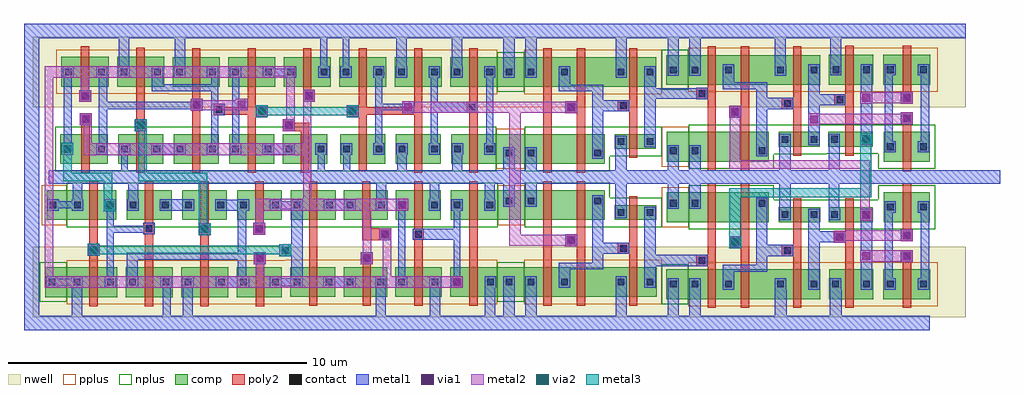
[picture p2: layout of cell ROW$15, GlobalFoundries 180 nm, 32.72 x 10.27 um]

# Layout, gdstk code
from math import pi, radians
import gdstk
lib = gdstk.Library(unit=1e-6, precision=5e-09)
def R(c, l, rs):  # rectangles x0, y0, x1, y1
    for r in rs: c.add(gdstk.rectangle(r[:2], r[2:], *l))
def A(c, l, x, y, w, h, nx, ny, dx, dy):  # array of equal rectangles
    R(c, l, [(x+i*dx, y+j*dy, x+i*dx+w, y+j*dy+h) for i in range(nx) for j in range(ny)])
nwell = (21, 0)
comp = (22, 0)
poly2 = (30, 0)
pplus = (31, 0)
nplus = (32, 0)
contact = (33, 0)
metal1 = (34, 0)
via1 = (35, 0)
metal2 = (36, 0)
via2 = (38, 0)
metal3 = (42, 0)

nfet_15 = lib.new_cell('nfet$15')

pfet_2_15 = lib.new_cell('pfet$2$15')

dff_16 = lib.new_cell('DFF$16')
dff_16.add(gdstk.Reference(nfet_15, (7.795,-0.095), rotation=pi, x_reflection=True))
dff_16.add(gdstk.Reference(pfet_2_15, (24.455,2.76)))
dff_16.add(gdstk.Reference(nfet_15, (24.455,-0.045)))
dff_16.add(gdstk.Reference(pfet_2_15, (34.345,2.755), rotation=pi, x_reflection=True))
dff_16.add(gdstk.Reference(pfet_2_15, (38.025,2.755), rotation=pi, x_reflection=True))
dff_16.add(gdstk.Reference(pfet_2_15, (40.34,2.755)))
dff_16.add(gdstk.Reference(pfet_2_15, (28.83,2.76)))
dff_16.add(gdstk.Reference(pfet_2_15, (56.495,2.74), rotation=pi, x_reflection=True))
dff_16.add(gdstk.Reference(pfet_2_15, (52.805,2.74), rotation=pi, x_reflection=True))
dff_16.add(gdstk.Reference(pfet_2_15, (49.11,2.755), rotation=pi, x_reflection=True))
dff_16.add(gdstk.Reference(nfet_15, (56.495,-0.065), rotation=pi, x_reflection=True))
dff_16.add(gdstk.Reference(nfet_15, (52.805,-0.065), rotation=pi, x_reflection=True))
dff_16.add(gdstk.Reference(nfet_15, (49.11,-0.05), rotation=pi, x_reflection=True))
dff_16.add(gdstk.Reference(pfet_2_15, (44.03,2.755)))
dff_16.add(gdstk.Reference(nfet_15, (42.89,-0.1)))
dff_16.add(gdstk.Reference(nfet_15, (40.34,-0.05)))
dff_16.add(gdstk.Reference(nfet_15, (38.025,-0.05), rotation=pi, x_reflection=True))
dff_16.add(gdstk.Reference(nfet_15, (34.345,-0.05), rotation=pi, x_reflection=True))
dff_16.add(gdstk.Reference(nfet_15, (29.51,-0.055), rotation=pi, x_reflection=True))
dff_16.add(gdstk.Reference(nfet_15, (10.34,-0.045), rotation=pi, x_reflection=True))
dff_16.add(gdstk.Reference(pfet_2_15, (10.34,2.76), rotation=pi, x_reflection=True))
dff_16.add(gdstk.Reference(pfet_2_15, (6.65,2.755), rotation=pi, x_reflection=True))
dff_16.add(gdstk.Reference(pfet_2_15, (13.36,2.76)))
dff_16.add(gdstk.Reference(nfet_15, (14.04,-0.055), rotation=pi, x_reflection=True))
dff_16.add(gdstk.Reference(pfet_2_15, (21.25,2.76)))
dff_16.add(gdstk.Reference(pfet_2_15, (17.57,2.76)))
dff_16.add(gdstk.Reference(nfet_15, (21.25,-0.045)))
dff_16.add(gdstk.Reference(nfet_15, (17.57,-0.045)))
dff_16.add(gdstk.Reference(pfet_2_15, (0.285,2.755), rotation=pi, x_reflection=True))

and_18 = lib.new_cell('AND$18')

inv_16 = lib.new_cell('INV$16')

pfet_1_15 = lib.new_cell('pfet$1$15')

tgate_15 = lib.new_cell('TGATE$15')
tgate_15.add(gdstk.Reference(pfet_1_15, (-0.53,5.4), x_reflection=True))

and_1_15 = lib.new_cell('AND$1$15')

inv_1_15 = lib.new_cell('INV$1$15')

via_dev_1_16 = lib.new_cell('via_dev$1$16')
R(via_dev_1_16, poly2, [(0,0,0.4,0.4)])
R(via_dev_1_16, contact, [(0.09,0.09,0.31,0.31)])
R(via_dev_1_16, metal1, [(0,0,0.4,0.4)])
R(via_dev_1_16, via1, [(0.07,0.07,0.33,0.33)])
R(via_dev_1_16, metal2, [(0,0,0.4,0.4)])

and_3_15 = lib.new_cell('AND$3$15')
R(and_3_15, comp, [(-3.69,-0.945,-2.96,0.055), (-2.96,-0.945,-2.54,0.055), (-2.54,-0.945,-1.84,0.055), (-1.84,-0.945,-1.42,0.055), (-1.42,-0.945,-0.72,0.055), (-0.93,-0.945,-0.28,0.055), (0.055,-0.445,0.48,0.055), (0.48,-0.445,1.03,0.055), (1.03,-0.445,1.45,0.055), (-3.71,1.635,-2.98,2.635), (-2.98,1.635,-2.52,2.635), (-2.52,1.635,-1.86,2.635), (-1.86,1.635,-1.4,2.635), (-1.4,1.635,-0.74,2.635), (-0.74,1.635,-0.11,2.635), (-0.11,1.635,0.35,2.635), (0.35,1.635,1.01,2.635), (1.01,1.635,1.455,2.635)])
R(and_3_15, poly2, [(-2.33,-1.245,-2.05,2.935), (-1.21,-1.245,-0.93,2.935), (0.54,-0.745,0.82,2.935), (-1.59,0.545,-1.21,0.925), (0.16,0.815,0.54,1.195), (-2.71,1.155,-2.33,1.535)])
R(and_3_15, pplus, [(-3.86,-1.115,-2.96,0.225), (-2.98,1.395,1.64,2.875)])
R(and_3_15, nplus, [(-2.96,-1.185,-0.11,0.295), (-0.11,-0.685,1.645,0.295), (-3.865,1.465,-2.98,2.805)])
R(and_3_15, contact, [(-3.59,-0.685,-3.37,-0.465), (-2.86,-0.685,-2.64,-0.465), (-0.62,-0.685,-0.4,-0.465), (0.16,-0.305,0.38,-0.085), (1.13,-0.305,1.35,-0.085), (-1.51,0.625,-1.29,0.845), (0.24,0.895,0.46,1.115), (-2.63,1.235,-2.41,1.455), (-3.59,2.025,-3.37,2.245), (-2.86,2.025,-2.64,2.245), (-1.74,2.025,-1.52,2.245), (0.01,2.025,0.23,2.245), (1.13,2.025,1.35,2.245)])
R(and_3_15, metal1, [(-3.67,-1.225,-3.29,-0.995), (-2.94,-1.225,-2.56,-0.995), (0.08,-1.225,0.46,-0.615), (-3.67,-0.995,-3.29,-0.765), (-2.94,-0.995,-2.56,-0.765), (-3.67,-0.765,-3.29,-0.385), (-2.94,-0.765,-2.56,-0.385), (-0.7,-0.765,-0.32,-0.385), (0.08,-0.615,0.46,-0.385), (-0.7,-0.385,-0.32,1.715), (0.08,-0.385,0.46,-0.005), (1.05,-0.385,1.43,-0.005), (1.05,-0.005,1.43,1.945), (-1.59,0.545,-1.21,0.925), (-0.32,0.815,0.16,1.195), (0.16,0.815,0.54,1.195), (-2.71,1.155,-2.33,1.535), (-1.82,1.485,-0.7,1.715), (-1.82,1.715,-1.44,1.945), (-3.67,1.945,-3.29,2.325), (-2.94,1.945,-2.56,2.325), (-1.82,1.945,-1.44,2.325), (-0.07,1.945,0.31,2.325), (1.05,1.945,1.43,2.325), (-3.67,2.325,-3.29,3.195), (-2.94,2.325,-2.56,3.195)])

via_dev_19 = lib.new_cell('via_dev$19')
R(via_dev_19, metal1, [(0,0,0.4,0.4)])
R(via_dev_19, via1, [(0.07,0.07,0.33,0.33)])
R(via_dev_19, metal2, [(0,0,0.4,0.4)])

via_dev_2_16 = lib.new_cell('via_dev$2$16')
R(via_dev_2_16, poly2, [(0,0,0.4,0.4)])
R(via_dev_2_16, contact, [(0.09,0.09,0.31,0.31)])
R(via_dev_2_16, metal1, [(0,0,0.4,0.4)])
R(via_dev_2_16, via1, [(0.07,0.07,0.33,0.33)])
R(via_dev_2_16, metal2, [(0,0,0.4,0.4)])
R(via_dev_2_16, via2, [(0.07,0.07,0.33,0.33)])
R(via_dev_2_16, metal3, [(0,0,0.4,0.4)])

via_dev_3_16 = lib.new_cell('via_dev$3$16')
R(via_dev_3_16, metal1, [(0,0,0.4,0.4)])
R(via_dev_3_16, via1, [(0.07,0.07,0.33,0.33)])
R(via_dev_3_16, metal2, [(0,0,0.4,0.4)])
R(via_dev_3_16, via2, [(0.07,0.07,0.33,0.33)])
R(via_dev_3_16, metal3, [(0,0,0.4,0.4)])

and_2_15 = lib.new_cell('AND$2$15')
R(and_2_15, comp, [(-5.54,-7.5,-4.81,-6.5), (-4.81,-7.5,-4.39,-6.5), (-4.39,-7.5,-3.69,-6.5), (-3.69,-7.5,-3.27,-6.5), (-3.27,-7.5,-2.57,-6.5), (-2.78,-7.5,-2.13,-6.5), (-1.795,-7,-1.37,-6.5), (-1.37,-7,-0.82,-6.5), (-0.82,-7,-0.41,-6.5), (-5.56,-4.92,-4.83,-3.92), (-4.83,-4.92,-4.37,-3.92), (-4.37,-4.92,-3.71,-3.92), (-3.71,-4.92,-3.25,-3.92), (-3.25,-4.92,-2.59,-3.92), (-2.59,-4.92,-1.96,-3.92), (-1.96,-4.92,-1.5,-3.92), (-1.5,-4.92,-0.84,-3.92), (-0.84,-4.92,-0.4,-3.92)])
R(and_2_15, poly2, [(-4.18,-7.8,-3.9,-3.62), (-3.06,-7.8,-2.78,-3.62), (-1.31,-7.3,-1.03,-3.62), (-3.44,-6.01,-3.06,-5.63), (-1.69,-5.74,-1.31,-5.36), (-4.56,-5.4,-4.18,-5.02)])
R(and_2_15, pplus, [(-5.71,-7.67,-4.81,-6.33), (-4.83,-5.16,-0.21,-3.68)])
R(and_2_15, nplus, [(-4.81,-7.74,-1.96,-6.26), (-1.96,-7.24,-0.205,-6.26), (-5.715,-5.09,-4.83,-3.75)])
R(and_2_15, contact, [(-5.44,-7.24,-5.22,-7.02), (-4.71,-7.24,-4.49,-7.02), (-2.47,-7.24,-2.25,-7.02), (-1.69,-6.86,-1.47,-6.64), (-0.72,-6.86,-0.5,-6.64), (-3.36,-5.93,-3.14,-5.71), (-1.61,-5.66,-1.39,-5.44), (-4.48,-5.32,-4.26,-5.1), (-5.44,-4.53,-5.22,-4.31), (-4.71,-4.53,-4.49,-4.31), (-3.59,-4.53,-3.37,-4.31), (-1.84,-4.53,-1.62,-4.31), (-0.72,-4.53,-0.5,-4.31)])
R(and_2_15, metal1, [(-5.52,-7.78,-5.14,-7.55), (-4.79,-7.78,-4.41,-7.55), (-1.77,-7.78,-1.39,-7.17), (-5.52,-7.55,-5.14,-7.32), (-4.79,-7.55,-4.41,-7.32), (-5.52,-7.32,-5.14,-6.94), (-4.79,-7.32,-4.41,-6.94), (-2.55,-7.32,-2.17,-6.94), (-1.77,-7.17,-1.39,-6.94), (-2.55,-6.94,-2.17,-4.84), (-1.77,-6.94,-1.39,-6.56), (-0.8,-6.94,-0.42,-6.56), (-0.8,-6.56,-0.42,-4.61), (-3.44,-6.01,-3.06,-5.63), (-2.17,-5.74,-1.69,-5.36), (-1.69,-5.74,-1.31,-5.36), (-4.56,-5.4,-4.18,-5.02), (-3.67,-5.07,-2.55,-4.84), (-3.67,-4.84,-3.29,-4.61), (-5.52,-4.61,-5.14,-4.23), (-4.79,-4.61,-4.41,-4.23), (-3.67,-4.61,-3.29,-4.23), (-1.92,-4.61,-1.54,-4.23), (-0.8,-4.61,-0.42,-4.23), (-5.52,-4.23,-5.14,-3.36), (-4.79,-4.23,-4.41,-3.36)])

row_15 = lib.new_cell('ROW$15')
R(row_15, nwell, [(18.83,5.74,34.515,8.12), (34.515,5.74,50.105,8.12), (18.83,12.78,34.515,15.16), (34.515,12.78,43.855,15.16), (34.515,12.78,50.105,15.16)])
A(row_15, comp, 20.545, 6.425, 0.66, 1, 3, 2, 1.86, 2.585)
A(row_15, comp, 29.565, 10.89, 0.66, 1, 3, 1, 1.86, 0)
A(row_15, comp, 23.985, 13.47, 0.66, 1, 6, 1, 1.86, 0)
R(row_15, comp, [(45.53,6.36,45.95,7.36), (45.53,6.36,45.95,7.36), (45.95,6.36,46.55,7.36), (45.95,6.36,46.55,7.36), (46.55,6.36,47.01,7.36), (46.55,6.36,47.01,7.36), (47.35,6.36,47.81,7.36), (47.35,6.36,47.81,7.36), (47.81,6.36,48.47,7.36), (47.81,6.36,48.47,7.36), (48.47,6.36,48.93,7.36), (48.47,6.36,48.93,7.36), (19.245,6.425,19.975,7.43), (19.975,6.425,20.545,7.425), (21.205,6.425,21.665,7.425), (21.945,6.425,22.405,7.425), (23.065,6.425,23.525,7.425), (23.805,6.425,24.265,7.425), (24.925,6.425,25.385,7.425), (25.665,6.425,26.125,7.425), (26.125,6.425,26.73,7.425), (26.73,6.425,27.185,7.425), (27.465,6.43,27.93,7.43), (27.93,6.43,28.54,7.43), (28.54,6.43,28.98,7.43), (29.26,6.43,29.7,7.43), (29.7,6.43,30.27,7.43), (30.27,6.43,30.71,7.43), (30.99,6.43,31.43,7.43), (31.43,6.43,32.09,7.43), (32.09,6.43,32.54,7.43), (32.825,6.43,33.285,7.43), (33.285,6.43,33.945,7.43), (33.945,6.43,34.405,7.43), (34.405,6.43,35.305,7.43), (35.305,6.43,35.765,7.43), (35.305,6.43,35.765,7.43), (35.765,6.43,36.425,7.43), (35.765,6.43,36.425,7.43), (36.425,6.43,36.885,7.43), (36.425,6.43,36.885,7.43), (36.885,6.43,37.545,7.43), (36.885,6.43,37.545,7.43), (37.545,6.43,38.34,7.43), (37.545,6.43,38.34,7.43), (38.34,6.43,38.785,7.43), (38.34,6.43,38.785,7.43), (38.785,6.43,39.295,7.43), (38.785,6.43,39.295,7.43), (39.295,6.43,39.745,7.43), (39.295,6.43,39.745,7.43), (45.515,8.94,45.91,9.44), (45.515,8.94,45.91,9.44), (45.91,8.94,46.57,9.44), (45.91,8.94,46.57,9.44), (46.57,8.94,46.99,9.44), (46.57,8.94,46.99,9.44), (47.37,8.94,47.79,9.94), (47.37,8.94,47.79,9.94), (47.79,8.94,48.49,9.94), (47.79,8.94,48.49,9.94), (48.49,8.94,48.91,9.94), (48.49,8.94,48.91,9.94), (19.305,9.01,19.975,10.01), (19.975,9.01,20.545,10.01), (21.205,9.01,21.625,10.01), (21.985,9.01,22.405,10.01), (23.065,9.01,23.485,10.01), (23.845,9.01,24.265,10.01), (24.925,9.01,25.345,10.01), (25.685,9.01,26.105,10.01), (26.105,9.01,26.765,10.01), (26.765,9.01,27.185,10.01), (27.485,9.01,27.905,10.01), (27.905,9.01,28.565,10.01), (28.565,9.01,28.985,10.01), (29.265,9.01,29.685,10.01), (29.685,9.01,30.31,10.01), (30.31,9.01,30.73,10.01), (31.01,9.01,31.43,10.01), (31.43,9.01,32.09,10.01), (32.09,9.01,32.51,10.01), (32.845,9.01,33.285,10.01), (33.285,9.01,33.945,10.01), (33.945,9.01,34.425,10.01), (34.425,9.01,35.325,10.01), (34.595,9.01,35.325,10.01), (35.325,9.01,35.745,10.01), (35.325,9.01,35.745,10.01), (35.745,9.01,36.445,10.01), (35.745,9.01,36.445,10.01), (36.445,9.01,36.865,10.01), (36.445,9.01,36.865,10.01), (36.865,9.01,37.565,10.01), (36.865,9.01,37.565,10.01), (37.355,9.01,38.005,10.01), (37.355,9.01,38.005,10.01), (38.34,9.01,38.765,9.51), (38.34,9.01,38.765,9.51), (38.765,9.01,39.315,9.51), (38.765,9.01,39.315,9.51), (39.315,9.01,39.73,9.51), (39.315,9.01,39.73,9.51), (19.75,10.89,20.275,11.89), (20.275,10.89,20.935,11.89), (20.935,10.89,21.355,11.89), (21.7,10.89,22.12,11.89), (22.12,10.89,22.78,11.89), (22.78,10.89,23.2,11.89), (23.565,10.89,23.985,11.89), (23.985,10.89,24.645,11.89), (24.645,10.89,25.065,11.89), (25.425,10.89,25.845,11.89), (25.845,10.89,26.505,11.89), (26.505,10.89,26.925,11.89), (27.21,10.89,27.63,11.89), (27.63,10.89,28.29,11.89), (28.29,10.89,28.71,11.89), (29.145,10.89,29.565,11.89), (30.225,10.89,30.645,11.89), (31.005,10.89,31.425,11.89), (32.085,10.89,32.505,11.89), (32.865,10.89,33.285,11.89), (33.945,10.89,34.365,11.89), (34.365,10.89,35.325,11.89), (35.325,10.89,35.745,11.89), (35.325,10.89,35.745,11.89), (35.745,10.89,36.445,11.89), (35.745,10.89,36.445,11.89), (36.445,10.89,36.865,11.89), (36.445,10.89,36.865,11.89), (36.865,10.89,37.565,11.89), (36.865,10.89,37.565,11.89), (37.355,10.89,38.005,11.89), (37.355,10.89,38.005,11.89), (47.37,10.965,47.79,11.965), (47.37,10.965,47.79,11.965), (47.79,10.965,48.49,11.965), (47.79,10.965,48.49,11.965), (48.49,10.965,48.91,11.965), (48.49,10.965,48.91,11.965), (38.34,11.39,38.765,11.89), (38.34,11.39,38.765,11.89), (38.765,11.39,39.315,11.89), (38.765,11.39,39.315,11.89), (39.315,11.39,39.725,11.89), (39.315,11.39,39.725,11.89), (45.51,11.465,45.91,11.965), (45.51,11.465,45.91,11.965), (45.91,11.465,46.57,11.965), (45.91,11.465,46.57,11.965), (46.57,11.465,46.99,11.965), (46.57,11.465,46.99,11.965), (23.525,13.47,23.985,14.47), (24.645,13.47,25.105,14.47), (25.385,13.47,25.845,14.47), (26.505,13.47,26.965,14.47), (27.245,13.47,27.705,14.47), (28.365,13.47,28.825,14.47), (29.105,13.47,29.565,14.47), (30.225,13.47,30.685,14.47), (30.965,13.47,31.425,14.47), (32.085,13.47,32.545,14.47), (32.825,13.47,33.285,14.47), (33.945,13.47,34.405,14.47), (34.405,13.47,35.305,14.47), (35.305,13.47,35.765,14.47), (35.305,13.47,35.765,14.47), (35.765,13.47,36.425,14.47), (35.765,13.47,36.425,14.47), (36.425,13.47,36.885,14.47), (36.425,13.47,36.885,14.47), (36.885,13.47,37.545,14.47), (36.885,13.47,37.545,14.47), (37.545,13.47,38.34,14.47), (37.545,13.47,38.34,14.47), (38.34,13.47,38.785,14.47), (38.34,13.47,38.785,14.47), (38.785,13.47,39.295,14.47), (38.785,13.47,39.295,14.47), (39.295,13.47,39.735,14.47), (39.295,13.47,39.735,14.47), (19.795,13.475,20.255,14.475), (20.255,13.475,20.915,14.475), (20.915,13.475,21.375,14.475), (21.66,13.475,22.12,14.475), (22.12,13.475,22.78,14.475), (22.78,13.475,23.24,14.475), (45.52,13.545,45.975,14.545), (45.52,13.545,45.975,14.545), (45.975,13.545,46.55,14.545), (45.975,13.545,46.55,14.545), (46.55,13.545,47.01,14.545), (46.55,13.545,47.01,14.545), (47.35,13.545,47.81,14.545), (47.35,13.545,47.81,14.545), (47.81,13.545,48.47,14.545), (47.81,13.545,48.47,14.545), (48.47,13.545,48.93,14.545), (48.47,13.545,48.93,14.545)])
A(row_15, poly2, 20.735, 6.125, 0.28, 1.6, 3, 1, 1.86, 0)
A(row_15, poly2, 24.175, 13.17, 0.28, 1.6, 6, 1, 1.86, 0)
R(row_15, poly2, [(46.08,6.06,46.36,9.74), (46.08,6.06,46.36,9.74), (48,6.06,48.28,7.66), (48,6.06,48.28,7.66), (26.315,6.125,26.595,7.53), (28.095,6.13,28.375,7.73), (29.89,6.13,30.17,7.73), (31.62,6.13,31.9,7.73), (33.475,6.13,33.755,7.73), (35.955,6.13,36.235,10.31), (35.955,6.13,36.235,10.31), (37.075,6.13,37.355,10.31), (37.075,6.13,37.355,10.31), (38.825,6.13,39.105,9.81), (38.825,6.13,39.105,9.81), (20.735,7.725,21.015,8.215), (22.595,7.725,22.875,8.54), (24.455,7.725,24.735,8.71), (28.095,7.73,28.375,8.35), (31.62,7.73,31.9,8.35), (33.475,7.73,33.755,8.35), (38.445,7.87,38.825,8.25), (38.445,7.87,38.825,8.25), (20.735,8.215,21.015,10.31), (45.7,8.25,46.08,8.63), (47.96,8.31,48.32,8.67), (47.96,8.31,48.32,8.67), (29.875,8.33,30.155,10.31), (30.155,8.33,30.455,8.73), (28.095,8.35,28.375,10.31), (31.58,8.35,31.94,8.71), (33.475,8.35,33.755,10.31), (22.555,8.54,22.915,8.9), (48,8.64,48.28,10.24), (48,8.64,48.28,10.24), (24.455,8.71,24.735,10.31), (31.62,8.71,31.9,10.31), (22.595,8.9,22.875,10.31), (26.295,8.91,26.575,10.31), (20.465,10.59,20.745,12.19), (22.31,10.59,22.59,12.19), (24.175,10.59,24.455,12.19), (26.035,10.59,26.315,12.245), (27.82,10.59,28.1,12.27), (31.615,10.59,31.895,12.59), (33.475,10.59,33.755,12.61), (35.955,10.59,36.235,14.77), (35.955,10.59,36.235,14.77), (37.075,10.59,37.355,14.77), (37.075,10.59,37.355,14.77), (48,10.635,48.28,12.235), (29.755,10.645,30.035,12.605), (38.825,11.09,39.105,14.77), (38.825,11.09,39.105,14.77), (46.08,11.165,46.36,14.845), (46.08,11.165,46.36,14.845), (27.615,11.99,27.82,12.27), (22.31,12.19,22.59,13.175), (24.175,12.19,24.455,13.17), (47.96,12.235,48.32,12.595), (47.96,12.235,48.32,12.595), (26.035,12.245,26.315,13.17), (24.895,12.525,25.275,12.905), (25.275,12.54,26.035,12.78), (30.035,12.54,31.615,12.78), (31.615,12.59,31.895,13.17), (29.755,12.605,30.035,13.17), (33.385,12.61,33.745,12.97), (38.445,12.65,38.825,13.03), (38.445,12.65,38.825,13.03), (45.7,12.85,46.08,13.23), (33.475,12.97,33.755,13.17), (20.445,13.175,20.725,14.825), (22.31,13.175,22.59,14.775), (48,13.245,48.28,14.845), (48,13.245,48.28,14.845)])
A(row_15, pplus, 19.975, 6.185, 1.86, 1.48, 3, 1, 1.86, 0)
R(row_15, pplus, [(45.425,6.12,47.18,7.6), (45.425,6.12,47.18,7.6), (47.18,6.12,49.17,7.6), (47.18,6.12,49.17,7.6), (25.555,6.185,27.315,7.665), (27.315,6.19,29.12,7.67), (29.12,6.19,30.88,7.67), (30.88,6.19,32.655,7.67), (32.655,6.19,34.405,7.67), (35.305,6.19,39.92,7.67), (35.305,6.19,39.92,7.67), (19.135,8.84,19.975,10.18), (34.425,8.84,35.325,10.18), (34.425,8.84,35.325,10.18), (34.365,10.72,35.325,12.06), (23.41,13.23,25.275,14.71), (25.275,13.23,27.075,14.71), (27.075,13.23,28.97,14.71), (28.97,13.23,30.685,14.71), (30.685,13.23,32.545,14.71), (32.545,13.23,34.405,14.71), (35.305,13.23,39.92,14.71), (35.305,13.23,39.92,14.71), (19.625,13.235,21.505,14.715), (21.505,13.235,23.41,14.715), (45.425,13.3,47.18,14.78), (47.18,13.3,49.17,14.78)])
R(row_15, nplus, [(19.075,6.26,19.975,7.6), (34.405,6.26,35.305,7.6), (34.405,6.26,35.305,7.6), (45.43,8.7,47.18,9.68), (45.43,8.7,47.18,9.68), (47.18,8.7,49.085,10.18), (47.18,8.7,49.085,10.18), (19.975,8.77,21.795,10.25), (21.795,8.77,23.655,10.25), (23.655,8.77,25.515,10.25), (25.515,8.77,27.315,10.25), (27.315,8.77,29.125,10.25), (29.125,8.77,30.84,10.25), (30.84,8.77,32.695,10.25), (32.695,8.77,34.425,10.25), (35.325,8.77,38.175,10.25), (35.325,8.77,38.175,10.25), (38.175,8.77,39.925,9.75), (38.175,8.77,39.925,9.75), (19.59,10.65,21.525,12.13), (21.525,10.65,23.37,12.13), (23.37,10.65,25.255,12.13), (25.255,10.65,27.04,12.13), (27.04,10.65,28.855,12.13), (28.855,10.65,30.645,12.13), (30.645,10.65,32.505,12.13), (32.505,10.65,34.365,12.13), (35.325,10.65,38.175,12.13), (35.325,10.65,38.175,12.13), (47.18,10.725,49.085,12.205), (47.18,10.725,49.085,12.205), (38.175,11.15,39.925,12.13), (38.175,11.15,39.925,12.13), (45.43,11.225,47.18,12.205), (45.43,11.225,47.18,12.205), (34.405,13.3,35.305,14.64), (34.405,13.3,35.305,14.64)])
R(row_15, contact, [(45.635,6.75,45.855,6.97), (45.635,6.75,45.855,6.97), (46.67,6.75,46.89,6.97), (46.67,6.75,46.89,6.97), (47.47,6.75,47.69,6.97), (47.47,6.75,47.69,6.97), (48.59,6.75,48.81,6.97), (48.59,6.75,48.81,6.97), (20.205,6.815,20.425,7.035), (21.325,6.815,21.545,7.035), (22.065,6.815,22.285,7.035), (23.185,6.815,23.405,7.035), (23.925,6.815,24.145,7.035), (25.045,6.815,25.265,7.035), (25.785,6.815,26.005,7.035), (26.865,6.815,27.085,7.035), (19.365,6.82,19.585,7.04), (27.585,6.82,27.805,7.04), (28.66,6.82,28.88,7.04), (29.36,6.82,29.58,7.04), (30.39,6.82,30.61,7.04), (31.09,6.82,31.31,7.04), (32.21,6.82,32.43,7.04), (32.945,6.82,33.165,7.04), (34.065,6.82,34.285,7.04), (34.695,6.82,34.915,7.04), (34.695,6.82,34.915,7.04), (35.425,6.82,35.645,7.04), (35.425,6.82,35.645,7.04), (36.545,6.82,36.765,7.04), (36.545,6.82,36.765,7.04), (38.45,6.82,38.67,7.04), (38.45,6.82,38.67,7.04), (39.415,6.82,39.635,7.04), (39.415,6.82,39.635,7.04), (38.525,7.95,38.745,8.17), (38.525,7.95,38.745,8.17), (45.78,8.33,46,8.55), (48.03,8.38,48.25,8.6), (48.03,8.38,48.25,8.6), (31.65,8.42,31.87,8.64), (22.625,8.61,22.845,8.83), (45.6,9.08,45.82,9.3), (45.6,9.08,45.82,9.3), (46.67,9.08,46.89,9.3), (46.67,9.08,46.89,9.3), (38.445,9.15,38.665,9.37), (38.445,9.15,38.665,9.37), (39.415,9.15,39.635,9.37), (39.415,9.15,39.635,9.37), (47.47,9.33,47.69,9.55), (47.47,9.33,47.69,9.55), (48.59,9.33,48.81,9.55), (48.59,9.33,48.81,9.55), (19.405,9.4,19.625,9.62), (20.225,9.4,20.445,9.62), (21.305,9.4,21.525,9.62), (22.085,9.4,22.305,9.62), (23.165,9.4,23.385,9.62), (23.945,9.4,24.165,9.62), (25.025,9.4,25.245,9.62), (25.785,9.4,26.005,9.62), (26.865,9.4,27.085,9.62), (27.585,9.4,27.805,9.62), (28.665,9.4,28.885,9.62), (29.365,9.4,29.585,9.62), (30.41,9.4,30.63,9.62), (31.11,9.4,31.33,9.62), (32.19,9.4,32.41,9.62), (32.945,9.4,33.165,9.62), (34.045,9.4,34.265,9.62), (34.695,9.53,34.915,9.75), (34.695,9.53,34.915,9.75), (35.425,9.53,35.645,9.75), (35.425,9.53,35.645,9.75), (37.665,9.53,37.885,9.75), (37.665,9.53,37.885,9.75), (34.695,11.15,34.915,11.37), (34.695,11.15,34.915,11.37), (35.425,11.15,35.645,11.37), (35.425,11.15,35.645,11.37), (37.665,11.15,37.885,11.37), (37.665,11.15,37.885,11.37), (19.885,11.28,20.105,11.5), (21.035,11.28,21.255,11.5), (21.8,11.28,22.02,11.5), (22.88,11.28,23.1,11.5), (23.665,11.28,23.885,11.5), (24.745,11.28,24.965,11.5), (25.525,11.28,25.745,11.5), (26.605,11.28,26.825,11.5), (27.31,11.28,27.53,11.5), (28.39,11.28,28.61,11.5), (29.245,11.28,29.465,11.5), (30.325,11.28,30.545,11.5), (31.105,11.28,31.325,11.5), (32.185,11.28,32.405,11.5), (32.965,11.28,33.185,11.5), (34.045,11.28,34.265,11.5), (47.47,11.355,47.69,11.575), (47.47,11.355,47.69,11.575), (48.59,11.355,48.81,11.575), (48.59,11.355,48.81,11.575), (38.445,11.53,38.665,11.75), (38.445,11.53,38.665,11.75), (39.415,11.53,39.635,11.75), (39.415,11.53,39.635,11.75), (45.595,11.605,45.815,11.825), (45.595,11.605,45.815,11.825), (46.67,11.605,46.89,11.825), (46.67,11.605,46.89,11.825), (48.03,12.305,48.25,12.525), (48.03,12.305,48.25,12.525), (24.97,12.6,25.19,12.82), (33.455,12.68,33.675,12.9), (38.525,12.73,38.745,12.95), (38.525,12.73,38.745,12.95), (45.78,12.93,46,13.15), (25.525,13.86,25.745,14.08), (26.625,13.86,26.845,14.08), (27.365,13.86,27.585,14.08), (28.485,13.86,28.705,14.08), (29.225,13.86,29.445,14.08), (30.325,13.86,30.545,14.08), (31.085,13.86,31.305,14.08), (32.185,13.86,32.405,14.08), (32.945,13.86,33.165,14.08), (34.045,13.86,34.265,14.08), (34.695,13.86,34.915,14.08), (34.695,13.86,34.915,14.08), (35.425,13.86,35.645,14.08), (35.425,13.86,35.645,14.08), (36.545,13.86,36.765,14.08), (36.545,13.86,36.765,14.08), (38.45,13.86,38.67,14.08), (38.45,13.86,38.67,14.08), (39.415,13.86,39.635,14.08), (39.415,13.86,39.635,14.08), (19.915,13.865,20.135,14.085), (21.035,13.865,21.255,14.085), (21.78,13.865,22,14.085), (22.9,13.865,23.12,14.085), (23.645,13.865,23.865,14.085), (24.745,13.865,24.965,14.085), (45.645,13.935,45.865,14.155), (45.645,13.935,45.865,14.155), (46.67,13.935,46.89,14.155), (46.67,13.935,46.89,14.155), (47.47,13.935,47.69,14.155), (47.47,13.935,47.69,14.155), (48.59,13.935,48.81,14.155), (48.59,13.935,48.81,14.155)])
A(row_15, metal1, 30.32, 11.58, 0.23, 2.2, 3, 1, 1.86, 0)
R(row_15, metal1, [(18.54,5.315,34.335,5.8), (34.335,5.315,48.905,5.8), (18.54,5.8,19.055,15.1), (20.145,5.8,20.495,6.735), (23.19,5.8,23.46,7.115), (23.855,5.8,24.205,6.735), (30.325,5.8,30.675,6.74), (32.145,5.8,32.495,6.74), (33.985,5.8,34.335,6.785), (34.615,5.8,34.995,6.74), (34.615,5.8,34.995,6.74), (35.345,5.8,35.725,6.74), (35.345,5.8,35.725,6.74), (38.37,5.8,38.75,6.74), (38.37,5.8,38.75,6.74), (43.715,5.8,44.11,6.67), (45.555,5.8,45.95,6.67), (45.555,6.67,45.935,7.05), (45.555,6.67,45.935,7.05), (46.59,6.67,46.97,7.05), (46.59,6.67,46.97,7.05), (47.39,6.67,47.77,7.05), (47.39,6.67,47.77,7.05), (48.51,6.67,48.89,7.05), (48.51,6.67,48.89,7.05), (20.125,6.735,20.505,7.115), (21.245,6.735,21.625,7.115), (21.32,6.735,21.55,9.7), (21.985,6.735,22.365,7.115), (23.105,6.735,23.485,7.115), (23.845,6.735,24.225,7.115), (24.965,6.735,25.345,7.115), (25.345,6.735,25.705,7.115), (25.705,6.735,26.085,7.115), (26.785,6.735,27.165,7.115), (19.285,6.74,19.665,7.12), (27.505,6.74,27.885,7.12), (27.505,6.74,27.885,9.7), (28.58,6.74,28.96,7.12), (28.96,6.74,29.28,7.12), (29.28,6.74,29.66,7.12), (30.31,6.74,30.69,7.12), (31.01,6.74,31.39,7.12), (32.13,6.74,32.51,7.12), (32.865,6.74,33.245,7.12), (33.985,6.74,34.365,7.12), (34.615,6.74,34.995,7.12), (34.615,6.74,34.995,7.12), (35.345,6.74,35.725,7.12), (35.345,6.74,35.725,7.12), (36.465,6.74,36.845,7.12), (36.465,6.74,36.845,7.12), (38.37,6.74,38.75,7.12), (38.37,6.74,38.75,7.12), (39.335,6.74,39.715,7.12), (39.335,6.74,39.715,7.12), (27.165,6.79,27.505,7.06), (19.665,6.805,20.125,7.035), (46.59,7.05,46.97,9), (46.59,7.05,46.97,9), (47.39,7.05,47.67,9.25), (47.39,7.05,47.67,9.25), (48.61,7.05,48.89,9.25), (48.61,7.05,48.89,9.25), (21.98,7.115,22.36,7.675), (25.705,7.115,25.995,9.32), (31.085,7.12,31.315,9.32), (32.94,7.12,33.17,9.32), (36.465,7.12,36.845,7.35), (36.465,7.12,36.845,7.35), (39.335,7.12,39.715,9.07), (39.335,7.12,39.715,9.07), (36.465,7.35,37.585,7.58), (36.465,7.35,37.585,7.58), (37.585,7.35,37.965,9.45), (37.585,7.35,37.965,9.45), (39.715,7.465,41.075,7.84), (21.98,7.675,25.705,7.905), (37.965,7.87,38.445,8.25), (37.965,7.87,38.445,8.25), (38.445,7.87,38.825,8.25), (38.445,7.87,38.825,8.25), (45.7,8.25,46.08,8.63), (45.215,8.255,45.7,8.63), (47.95,8.3,48.33,8.68), (47.95,8.3,48.33,8.68), (31.57,8.34,31.95,8.72), (31.95,8.34,32.94,8.72), (22.545,8.53,22.925,8.91), (21.55,8.585,22.545,8.815), (45.52,9,45.9,9.38), (45.52,9,45.9,9.38), (46.59,9,46.97,9.38), (46.59,9,46.97,9.38), (38.365,9.07,38.745,9.45), (38.365,9.07,38.745,9.45), (39.335,9.07,39.715,9.45), (39.335,9.07,39.715,9.45), (47.39,9.25,47.77,9.63), (47.39,9.25,47.77,9.63), (48.51,9.25,48.89,9.63), (48.51,9.25,48.89,9.63), (19.325,9.32,19.705,9.7), (20.145,9.32,20.525,9.7), (21.225,9.32,21.605,9.7), (22.005,9.32,22.385,9.7), (23.085,9.32,23.465,9.7), (23.465,9.32,23.865,9.7), (23.865,9.32,24.245,9.7), (24.945,9.32,25.325,9.7), (25.325,9.32,25.705,9.695), (25.705,9.32,26.085,9.7), (26.785,9.32,27.165,9.7), (27.505,9.32,27.885,9.7), (28.585,9.32,28.965,9.7), (28.965,9.32,29.285,9.7), (29.285,9.32,29.665,9.7), (30.33,9.32,30.71,9.7), (31.03,9.32,31.41,9.7), (32.11,9.32,32.49,9.7), (32.865,9.32,33.245,9.7), (33.965,9.32,34.345,9.7), (27.165,9.365,27.505,9.635), (45.52,9.375,45.875,10.22), (19.705,9.4,20.145,9.63), (34.615,9.45,34.995,9.83), (34.615,9.45,34.995,9.83), (35.345,9.45,35.725,9.83), (35.345,9.45,35.725,9.83), (37.585,9.45,37.965,9.83), (37.585,9.45,37.965,9.83), (38.365,9.45,38.745,9.68), (38.365,9.45,38.745,9.68), (38.365,9.68,38.745,10.22), (38.365,9.68,38.745,10.22), (20.17,9.7,20.5,10.22), (22.035,9.7,22.365,10.22), (30.35,9.7,30.68,10.22), (32.15,9.7,32.465,10.22), (33.985,9.7,34.315,10.22), (34.615,9.83,34.995,10.06), (34.615,9.83,34.995,10.06), (35.345,9.83,35.725,10.06), (35.345,9.83,35.725,10.06), (34.615,10.06,34.995,10.22), (34.615,10.06,34.995,10.22), (35.345,10.06,35.725,10.22), (35.345,10.06,35.725,10.22), (19.375,10.22,34.615,10.45), (34.615,10.22,51.26,10.45), (35.04,10.22,40.385,10.45), (19.375,10.45,34.615,10.68), (34.615,10.45,51.26,10.68), (21.795,10.68,22.025,11.2), (28.385,10.68,28.615,11.2), (29.24,10.68,29.47,11.2), (31.045,10.68,31.375,11.2), (32.905,10.68,33.235,11.2), (34.615,10.68,34.995,10.84), (34.615,10.68,34.995,10.84), (35.345,10.68,35.725,10.84), (35.345,10.68,35.725,10.84), (38.365,10.68,38.745,11.22), (38.365,10.68,38.745,11.22), (45.515,10.68,45.89,11.525), (34.615,10.84,34.995,11.07), (34.615,10.84,34.995,11.07), (35.345,10.84,35.725,11.07), (35.345,10.84,35.725,11.07), (34.615,11.07,34.995,11.45), (34.615,11.07,34.995,11.45), (35.345,11.07,35.725,11.45), (35.345,11.07,35.725,11.45), (37.585,11.07,37.965,11.45), (37.585,11.07,37.965,11.45), (19.805,11.2,20.185,11.58), (20.955,11.2,21.335,11.58), (21.72,11.2,22.1,11.58), (22.8,11.2,23.18,11.58), (23.18,11.2,23.585,11.58), (23.585,11.2,23.965,11.58), (24.665,11.2,25.045,11.58), (25.445,11.2,25.825,11.58), (26.525,11.2,26.905,11.58), (26.905,11.2,27.23,11.58), (27.23,11.2,27.61,11.58), (28.31,11.2,28.69,11.58), (29.165,11.2,29.545,11.58), (30.245,11.2,30.625,11.58), (31.025,11.2,31.405,11.58), (32.105,11.2,32.485,11.58), (32.885,11.2,33.265,11.58), (33.965,11.2,34.345,11.58), (38.365,11.22,38.745,11.45), (38.365,11.22,38.745,11.45), (47.39,11.275,47.77,11.655), (47.39,11.275,47.77,11.655), (48.51,11.275,48.89,11.655), (48.51,11.275,48.89,11.655), (37.585,11.45,37.965,13.55), (37.585,11.45,37.965,13.55), (38.365,11.45,38.745,11.83), (38.365,11.45,38.745,11.83), (39.335,11.45,39.715,11.83), (39.335,11.45,39.715,11.83), (45.515,11.525,45.895,11.905), (45.515,11.525,45.895,11.905), (46.59,11.525,46.97,11.905), (46.59,11.525,46.97,11.905), (19.875,11.58,20.145,13.785), (21.045,11.58,21.335,13.785), (24.815,11.58,25.045,13.785), (25.52,11.58,25.75,13.78), (47.39,11.655,47.67,13.855), (47.39,11.655,47.67,13.855), (48.61,11.655,48.89,13.855), (48.61,11.655,48.89,13.855), (39.335,11.83,39.715,13.78), (39.335,11.83,39.715,13.78), (46.59,11.905,46.97,13.855), (46.59,11.905,46.97,13.855), (47.95,12.225,48.33,12.605), (47.95,12.225,48.33,12.605), (24.895,12.525,25.275,12.905), (32.41,12.6,33.375,12.98), (33.375,12.6,33.755,12.98), (37.965,12.65,38.445,13.03), (37.965,12.65,38.445,13.03), (38.445,12.65,38.825,13.03), (38.445,12.65,38.825,13.03), (30.55,12.68,31.215,12.91), (21.335,12.715,24.125,12.97), (45.7,12.85,46.08,13.23), (45.215,12.855,45.7,13.23), (39.715,13.065,41.075,13.43), (36.465,13.32,37.585,13.55), (36.465,13.32,37.585,13.55), (22.82,13.325,24.815,13.555), (36.465,13.55,36.845,13.78), (36.465,13.55,36.845,13.78), (22.82,13.555,23.2,13.785), (25.445,13.78,25.825,14.155), (26.545,13.78,26.925,14.16), (27.285,13.78,27.665,14.16), (28.405,13.78,28.785,14.16), (29.145,13.78,29.525,14.16), (30.245,13.78,30.625,14.16), (31.005,13.78,31.385,14.16), (32.105,13.78,32.485,14.16), (32.865,13.78,33.245,14.16), (33.965,13.78,34.345,14.16), (34.615,13.78,34.995,14.16), (34.615,13.78,34.995,14.16), (35.345,13.78,35.725,14.16), (35.345,13.78,35.725,14.16), (36.465,13.78,36.845,14.16), (36.465,13.78,36.845,14.16), (38.37,13.78,38.75,14.16), (38.37,13.78,38.75,14.16), (39.335,13.78,39.715,14.16), (39.335,13.78,39.715,14.16), (19.835,13.785,20.215,14.165), (20.955,13.785,21.335,14.165), (21.7,13.785,22.08,14.165), (22.82,13.785,23.2,14.165), (23.565,13.785,23.945,14.165), (24.665,13.785,25.045,14.165), (26.925,13.835,27.285,14.085), (45.565,13.855,45.945,14.235), (45.565,13.855,45.945,14.235), (46.59,13.855,46.97,14.235), (46.59,13.855,46.97,14.235), (47.39,13.855,47.77,14.235), (47.39,13.855,47.77,14.235), (48.51,13.855,48.89,14.235), (48.51,13.855,48.89,14.235), (28.48,14.16,28.71,15.1), (29.22,14.16,29.45,15.1), (31.015,14.16,31.365,15.1), (32.875,14.16,33.225,15.1), (34.615,14.16,34.995,15.1), (34.615,14.16,34.995,15.1), (35.345,14.16,35.725,15.1), (35.345,14.16,35.725,15.1), (38.37,14.16,38.75,15.1), (38.37,14.16,38.75,15.1), (21.72,14.165,22.07,15.1), (23.59,14.165,23.94,15.1), (43.715,14.23,44.08,15.1), (45.565,14.235,45.94,15.1), (18.54,15.1,34.615,15.585), (34.615,15.1,43.945,15.585), (34.615,15.1,50.105,15.585)])
R(row_15, metal2, [(19.235,6.73,32.85,7.13), (19.235,7.13,19.515,13.77), (26.315,7.13,26.595,7.54), (30.575,7.13,30.855,8.33), (46.98,7.61,47.94,7.99), (46.98,7.61,47.94,7.99), (29.895,7.93,30.175,9.315), (34.81,8.14,35.19,12.98), (35.19,8.14,36.695,8.52), (35.19,8.14,36.695,8.52), (46.09,8.305,47.94,8.67), (26.295,8.91,26.575,9.315), (26.295,9.315,31.02,9.715), (46.58,9.385,46.9,11.015), (27.895,9.715,28.175,12.97), (42.19,10.72,46.9,11.015), (42.195,11.015,42.545,12.45), (20.535,11.185,28.175,11.585), (20.535,11.585,20.815,12.19), (45.225,12.215,47.94,12.57), (27.335,12.39,27.615,13.77), (31.615,12.6,34.81,12.98), (35.19,12.6,36.695,12.98), (24.525,12.68,25.635,13.015), (46.98,12.915,47.94,13.295), (46.98,12.915,47.94,13.295), (20.445,13.365,20.725,13.77), (19.235,13.77,27.615,14.17)])
R(row_15, metal3, [(21.08,7.86,27.105,8.14), (42.185,8.46,42.575,9.77), (24.395,8.905,24.675,10.31), (21.215,9.705,21.495,10.31), (42.185,9.77,46.95,10.08), (46.58,10.08,46.95,11.515), (19.855,10.31,21.495,10.59), (22.37,10.31,24.675,10.59), (19.855,10.59,20.135,11.19), (22.37,10.59,22.65,11.99), (26.715,12.515,29.355,12.795)])
row_15.add(gdstk.Reference(dff_16, (-24.56,8.88)))
row_15.add(gdstk.Reference(and_18, (38.72,10.78)))
row_15.add(gdstk.Reference(inv_16, (42.455,10.72)))
row_15.add(gdstk.Reference(tgate_15, (47.51,8.465)))
row_15.add(gdstk.Reference(and_1_15, (39.165,5.095), x_reflection=True))
row_15.add(gdstk.Reference(inv_1_15, (42.015,9.36), x_reflection=True))
row_15.add(gdstk.Reference(via_dev_1_16, (36.685,8.53), x_reflection=True))
row_15.add(gdstk.Reference(via_dev_1_16, (36.685,12.59)))
row_15.add(gdstk.Reference(and_3_15, (43.785,8.995), x_reflection=True))
row_15.add(gdstk.Reference(via_dev_1_16, (36.685,12.59)))
row_15.add(gdstk.Reference(via_dev_19, (44.825,12.18)))
row_15.add(gdstk.Reference(via_dev_1_16, (36.685,8.53), x_reflection=True))
row_15.add(gdstk.Reference(via_dev_19, (46.58,8), x_reflection=True))
row_15.add(gdstk.Reference(via_dev_1_16, (20.415,12.19)))
row_15.add(gdstk.Reference(via_dev_1_16, (27.215,11.99)))
row_15.add(gdstk.Reference(via_dev_19, (25.635,12.68)))
row_15.add(gdstk.Reference(via_dev_1_16, (20.395,13.365), x_reflection=True))
row_15.add(gdstk.Reference(via_dev_1_16, (27.895,12.97)))
row_15.add(gdstk.Reference(via_dev_2_16, (22.25,11.99)))
row_15.add(gdstk.Reference(via_dev_1_16, (24.125,12.67)))
row_15.add(gdstk.Reference(via_dev_2_16, (26.315,12.46)))
row_15.add(gdstk.Reference(via_dev_2_16, (29.355,12.46)))
row_15.add(gdstk.Reference(via_dev_19, (31.215,12.585)))
row_15.add(gdstk.Reference(via_dev_1_16, (30.23,7.93), rotation=pi))
row_15.add(gdstk.Reference(via_dev_19, (33.25,7.13), rotation=pi))
row_15.add(gdstk.Reference(via_dev_19, (31.42,9.715), rotation=pi))
row_15.add(gdstk.Reference(via_dev_1_16, (26.65,7.93), rotation=pi))
row_15.add(gdstk.Reference(via_dev_1_16, (26.63,8.91), rotation=pi))
row_15.add(gdstk.Reference(via_dev_2_16, (24.795,8.905), rotation=pi))
row_15.add(gdstk.Reference(via_dev_3_16, (27.505,8.19), rotation=pi))
row_15.add(gdstk.Reference(via_dev_2_16, (21.08,8.205), rotation=pi))
row_15.add(gdstk.Reference(via_dev_3_16, (20.195,11.59), rotation=pi))
row_15.add(gdstk.Reference(via_dev_3_16, (21.615,9.705), rotation=pi))
row_15.add(gdstk.Reference(via_dev_1_16, (30.855,8.73), rotation=pi))
row_15.add(gdstk.Reference(and_2_15, (45.635,18.46)))
row_15.add(gdstk.Reference(via_dev_3_16, (42.185,8.06)))
row_15.add(gdstk.Reference(via_dev_1_16, (47.94,8), x_reflection=True))
row_15.add(gdstk.Reference(via_dev_3_16, (46.58,11.515)))
row_15.add(gdstk.Reference(via_dev_1_16, (47.94,8.69), x_reflection=True))
row_15.add(gdstk.Reference(via_dev_1_16, (47.94,8.69), x_reflection=True))
row_15.add(gdstk.Reference(via_dev_1_16, (47.94,8), x_reflection=True))
row_15.add(gdstk.Reference(via_dev_19, (46.58,8), x_reflection=True))
row_15.add(gdstk.Reference(via_dev_1_16, (47.94,12.215)))
row_15.add(gdstk.Reference(via_dev_19, (42.18,12.435)))
row_15.add(gdstk.Reference(via_dev_1_16, (47.94,12.905)))
row_15.add(gdstk.Reference(via_dev_19, (46.58,8.985)))
row_15.add(gdstk.Reference(via_dev_19, (46.58,12.905)))
row_15.add(gdstk.Reference(via_dev_19, (46.58,12.905)))
row_15.add(gdstk.Reference(via_dev_1_16, (47.94,12.905)))
row_15.add(gdstk.Reference(via_dev_1_16, (47.94,12.215)))
row_15.add(gdstk.Reference(via_dev_19, (45.69,8.24)))

lib.write_gds('ROW_15.gds')
